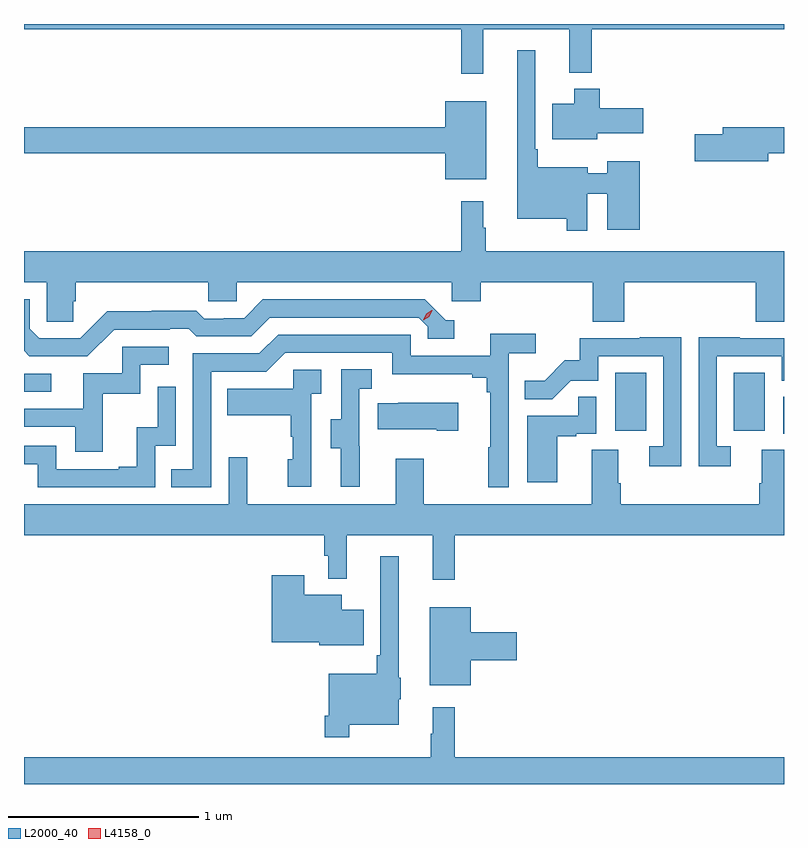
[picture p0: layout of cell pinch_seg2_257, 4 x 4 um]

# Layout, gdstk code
import gdstk
lib = gdstk.Library(unit=1e-6, precision=1e-09)
def R(c, l, rs):  # rectangles x0, y0, x1, y1
    for r in rs: c.add(gdstk.rectangle(r[:2], r[2:], *l))
def P(c, l, *ps):  # polygons
    for p in ps: c.add(gdstk.Polygon(p, *l))
L2000_40 = (2000, 40)
L4158_0 = (4158, 0)

pinch_seg2_257 = lib.new_cell('pinch_seg2_257')
R(pinch_seg2_257, L2000_40, [(913.722,660.159,913.725,660.353), (912.836,660.174,913,660.481), (913.46,660.174,913.624,660.481)])
P(pinch_seg2_257, L2000_40, [(909.725,662.288),(912.025,662.288),(912.025,662.055),(912.143,662.055),(912.143,662.288),(912.596,662.288),(912.596,662.06),(912.713,662.06),(912.713,662.288),(913.725,662.288),(913.725,662.316),(909.725,662.316)],
  [(912.69,661.422),(912.794,661.422),(912.794,661.233),(912.965,661.233),(912.965,661.594),(912.794,661.594),(912.794,661.531),(912.691,661.531),(912.691,661.561),(912.43,661.561),(912.43,661.657),(912.417,661.657),(912.417,662.179),(912.32,662.179),(912.32,661.292),(912.582,661.292),(912.582,661.227),(912.69,661.227)],
  [(912.742,661.742),(912.985,661.742),(912.985,661.872),(912.755,661.872),(912.755,661.975),(912.62,661.975),(912.62,661.897),(912.506,661.897),(912.506,661.709),(912.742,661.709)],
  [(912.157,661.909),(911.942,661.909),(911.942,661.772),(909.725,661.772),(909.725,661.636),(911.942,661.636),(911.942,661.499),(912.157,661.499)],
  [(913.642,661.636),(913.725,661.636),(913.725,661.772),(913.403,661.772),(913.403,661.736),(913.254,661.736),(913.254,661.594),(913.642,661.594)],
  [(909.983,660.858),(909.998,660.858),(909.998,660.956),(910.695,660.956),(910.695,660.858),(910.845,660.858),(910.845,660.956),(911.976,660.956),(911.976,660.858),(912.128,660.858),(912.128,660.956),(912.719,660.956),(912.719,660.748),(912.884,660.748),(912.884,660.956),(913.577,660.956),(913.577,660.748),(913.725,660.748),(913.725,661.12),(912.154,661.12),(912.154,661.244),(912.142,661.244),(912.142,661.384),(912.025,661.384),(912.025,661.12),(909.725,661.12),(909.725,660.956),(909.846,660.956),(909.846,660.748),(909.983,660.748)],
  [(910.2,660.708),(910.493,660.708),(910.493,660.711),(910.592,660.711),(910.631,660.672),(910.92,660.672),(911.019,660.771),(911.802,660.771),(911.85,660.723),(911.85,660.66),(911.989,660.66),(911.989,660.756),(911.946,660.756),(911.835,660.867),(910.982,660.867),(910.883,660.768),(910.776,660.768),(910.776,660.765),(910.673,660.765),(910.631,660.808),(910.398,660.808),(910.398,660.805),(910.162,660.805),(910.02,660.663),(909.804,660.663),(909.756,660.711),(909.756,660.867),(909.725,660.867),(909.725,660.595),(909.753,660.567),(910.059,660.567)],
  [(910.71,660.486),(911.001,660.486),(911.1,660.585),(911.664,660.585),(911.664,660.473),(912.083,660.473),(912.083,660.454),(912.16,660.454),(912.16,660.377),(912.179,660.377),(912.179,660.089),(912.168,660.089),(912.168,659.877),(912.276,659.877),(912.276,660.584),(912.418,660.584),(912.418,660.686),(912.179,660.686),(912.179,660.57),(911.76,660.57),(911.76,660.681),(911.063,660.681),(910.964,660.582),(910.614,660.582),(910.614,659.973),(910.501,659.973),(910.501,659.877),(910.71,659.877)],
  [(913.185,660.668),(912.967,660.668),(912.967,660.663),(912.649,660.663),(912.649,660.546),(912.572,660.546),(912.465,660.439),(912.361,660.439),(912.361,660.34),(912.505,660.34),(912.603,660.438),(912.747,660.438),(912.747,660.567),(913.089,660.567),(913.089,660.093),(913.017,660.093),(913.017,659.988),(913.185,659.988)],
  [(913.444,660.093),(913.371,660.093),(913.371,660.567),(913.713,660.567),(913.713,660.438),(913.725,660.438),(913.725,660.663),(913.493,660.663),(913.493,660.668),(913.275,660.668),(913.275,659.988),(913.444,659.988)],
  [(910.139,660.369),(910.338,660.369),(910.338,660.522),(910.486,660.522),(910.486,660.618),(910.242,660.618),(910.242,660.477),(910.037,660.477),(910.037,660.291),(909.725,660.291),(909.725,660.195),(909.995,660.195),(909.995,660.066),(910.139,660.066)],
  [(911.492,660.093),(911.49,660.093),(911.49,660.397),(911.554,660.397),(911.554,660.5),(911.394,660.5),(911.394,660.237),(911.339,660.237),(911.339,660.082),(911.393,660.082),(911.393,659.88),(911.492,659.88)],
  [(911.238,660.371),(911.29,660.371),(911.29,660.495),(911.142,660.495),(911.142,660.397),(910.795,660.397),(910.795,660.257),(911.13,660.257),(911.13,660.143),(911.14,660.143),(911.14,660.024),(911.114,660.024),(911.114,659.88),(911.238,659.88)],
  [(909.868,660.474),(909.726,660.474),(909.725,660.475),(909.725,660.381),(909.868,660.381)],
  [(910.416,660.096),(910.524,660.096),(910.524,660.406),(910.428,660.406),(910.428,660.194),(910.319,660.194),(910.319,659.986),(910.223,659.986),(910.223,659.973),(909.894,659.973),(909.894,660.096),(909.725,660.096),(909.725,660),(909.798,660),(909.798,659.877),(910.416,659.877)],
  [(912.532,660.147),(912.632,660.147),(912.632,660.159),(912.738,660.159),(912.738,660.353),(912.643,660.353),(912.643,660.255),(912.374,660.255),(912.374,659.904),(912.532,659.904)],
  [(912.01,660.322),(911.695,660.322),(911.695,660.319),(911.587,660.319),(911.587,660.182),(911.897,660.182),(911.897,660.175),(912.01,660.175)],
  [(913.725,660.074),(913.607,660.074),(913.607,659.9),(913.595,659.9),(913.595,659.788),(912.866,659.788),(912.866,659.9),(912.853,659.9),(912.853,660.074),(912.713,660.074),(912.713,659.788),(911.829,659.788),(911.829,660.028),(911.681,660.028),(911.681,659.788),(910.901,659.788),(910.901,660.037),(910.803,660.037),(910.803,659.788),(909.725,659.788),(909.725,659.624),(911.305,659.624),(911.305,659.517),(911.325,659.517),(911.325,659.396),(911.423,659.396),(911.423,659.624),(911.876,659.624),(911.876,659.391),(911.993,659.391),(911.993,659.624),(913.725,659.624)],
  [(911.437,658.628),(911.698,658.628),(911.698,658.761),(911.707,658.761),(911.707,658.875),(911.698,658.875),(911.698,659.515),(911.601,659.515),(911.601,658.993),(911.581,658.993),(911.581,658.897),(911.328,658.897),(911.328,658.675),(911.308,658.675),(911.308,658.563),(911.437,658.563)],
  [(911.512,659.233),(911.398,659.233),(911.398,659.311),(911.2,659.311),(911.2,659.416),(911.03,659.416),(911.03,659.063),(911.28,659.063),(911.28,659.045),(911.512,659.045)],
  [(912.076,658.967),(912.319,658.967),(912.319,659.114),(912.076,659.114),(912.076,659.245),(911.861,659.245),(911.861,658.835),(912.076,658.835)],
  [(913.725,658.456),(911.993,658.456),(911.993,658.72),(911.876,658.72),(911.876,658.58),(911.865,658.58),(911.865,658.456),(909.725,658.456),(909.725,658.316),(913.725,658.316)])
P(pinch_seg2_257, L4158_0, [(911.826,660.757),(911.826,660.758),(911.842,660.79),(911.872,660.809),(911.873,660.809),(911.873,660.809),(911.857,660.776),(911.826,660.757)])

lib.write_gds('pinch_seg2_257.gds')
